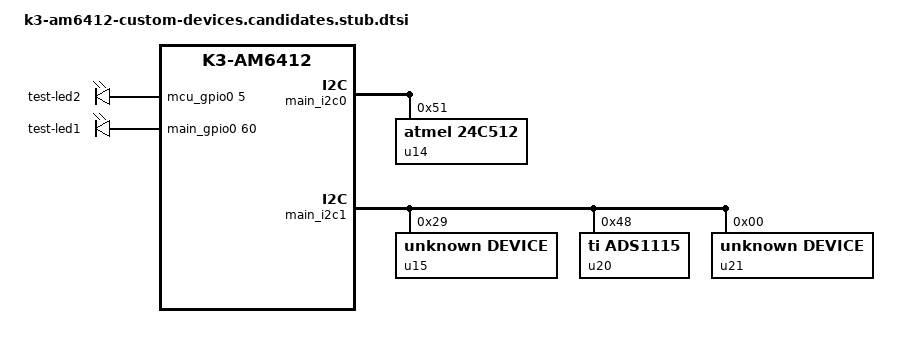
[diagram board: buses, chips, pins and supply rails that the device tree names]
/* Device candidates generated from hardware facts + SK reference + workflow defaults. */
/* This file may require resolver data before production use. */

/ {
	led-controller {
		compatible = "gpio-leds";
		test-led2 {
			gpios = <&mcu_gpio0 5 GPIO_ACTIVE_HIGH>;
			default-state = "off";
		};
		test-led1 {
			gpios = <&main_gpio0 60 GPIO_ACTIVE_HIGH>;
			default-state = "off";
		};
	};
};

&main_i2c0 {
	u14: u14@51 {
		compatible = "atmel,24c512";
		reg = <0x51>;
		/* purpose: board_id_eeprom */
	};
};

&main_i2c1 {
	u15: u15@29 {
		compatible = "unknown,device";
		reg = <0x29>;
		/* purpose: tpm_for_test */
	};
	u20: u20@48 {
		compatible = "ti,ads1115";
		reg = <0x48>;
		/* purpose: temperature_monitor_adc */
	};
	u21: u21@0 {
		compatible = "unknown,device";
		reg = <0x00>; /* TODO: resolve I2C address */
		/* TODO: confirm part PI6ULS5V9509UEX and bus attachment */
	};
};
